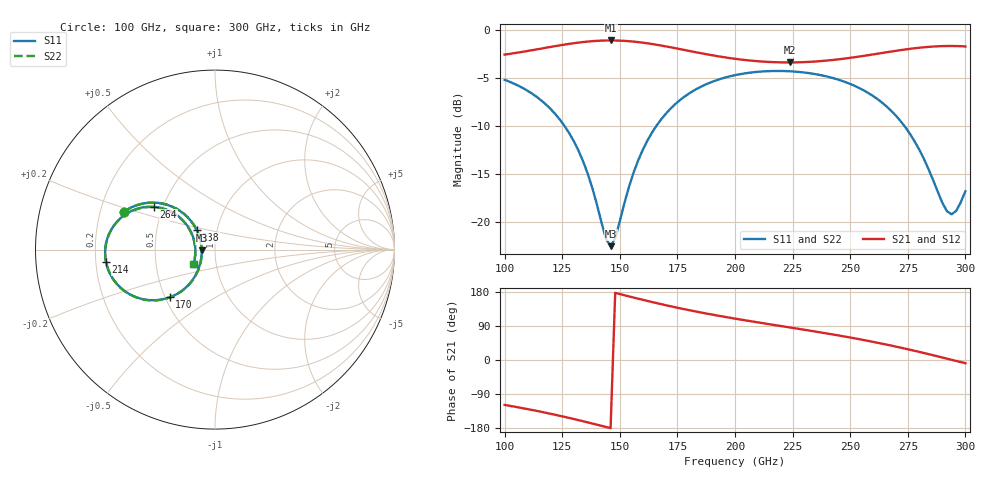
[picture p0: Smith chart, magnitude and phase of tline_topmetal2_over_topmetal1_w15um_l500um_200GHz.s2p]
#  GHZ S DB R 50
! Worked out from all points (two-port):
!   101 points, 100 GHz to 300 GHz, reference 50 ohm
!   highest |S21| = -1.06 dB at 146 GHz (marker M1); lowest = -3.4 dB at 224 GHz (marker M2)
!   |S21| within 3 dB of the highest: start of sweep to end of sweep
!   lowest |S11| = -22.6 dB at 146 GHz (marker M3), VSWR 1.16, Z = 43.1 - j0.257 ohm
!   |S11| at or under -10 dB: 126 GHz to 165.9 GHz (39.89 GHz wide, 27.3 % of centre); 273.5 GHz to end of sweep
!   |S22| runs from -22.7 to -4.3 dB; largest |S21 - S12| = 9.5e-14
!   S11 on the Smith chart (normalised r, x): 100 GHz: 0.30, +0.18; 138 GHz: 0.80, +0.18; 170 GHz: 0.53, -0.32; 214 GHz: 0.24, -0.05; 264 GHz: 0.44, +0.26; 300 GHz: 0.78, -0.13
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100  -5.19 157.6  -2.54 -118.5  -2.54 -118.5  -5.18 157.6
120  -8.24 138.6  -1.74 -142.0  -1.74 -142.0  -8.24 138.6
134  -13.66 130.0  -1.23 -161.5  -1.23 -161.5  -13.67 129.9
138  -16.44 132.9  -1.14 -167.5  -1.14 -167.5  -16.45 132.7
144  -21.81 160.9  -1.07 -176.7  -1.07 -176.7  -21.88 160.7
146  -22.58 -177.7  -1.06 -179.8  -1.06 -179.8  -22.67 -177.7
148  -21.75 -156.5  -1.07 177.1  -1.07 177.1  -21.83 -156.3
158  -13.59 -126.5  -1.24 161.8  -1.24 161.8  -13.61 -126.2
168  -9.30 -131.8  -1.60 147.3  -1.60 147.3  -9.31 -131.5
170  -8.72 -133.5  -1.69 144.6  -1.69 144.6  -8.73 -133.3
184  -6.05 -146.9  -2.34 126.8  -2.34 126.8  -6.06 -146.7
200  -4.70 -161.6  -2.98 109.2  -2.98 109.2  -4.70 -161.4
214  -4.28 -173.5  -3.30 95.3  -3.30 95.3  -4.28 -173.3
224  -4.29 178.3  -3.36 85.7  -3.36 85.7  -4.29 178.5
234  -4.55 170.1  -3.28 75.9  -3.28 75.9  -4.55 170.3
250  -5.61 156.7  -2.88 59.3  -2.88 59.3  -5.61 157.0
264  -7.60 145.1  -2.37 42.9  -2.37 42.9  -7.60 145.3
268  -8.47 142.1  -2.22 37.8  -2.22 37.8  -8.47 142.4
280  -12.50 137.7  -1.83 21.3  -1.83 21.3  -12.49 138.0
292  -18.92 168.6  -1.65 3.6  -1.65 3.6  -18.87 168.8
296  -18.89 -164.9  -1.65 -2.5  -1.65 -2.5  -18.83 -164.8
300  -16.83 -146.0  -1.69 -8.5  -1.69 -8.5  -16.80 -146.0
